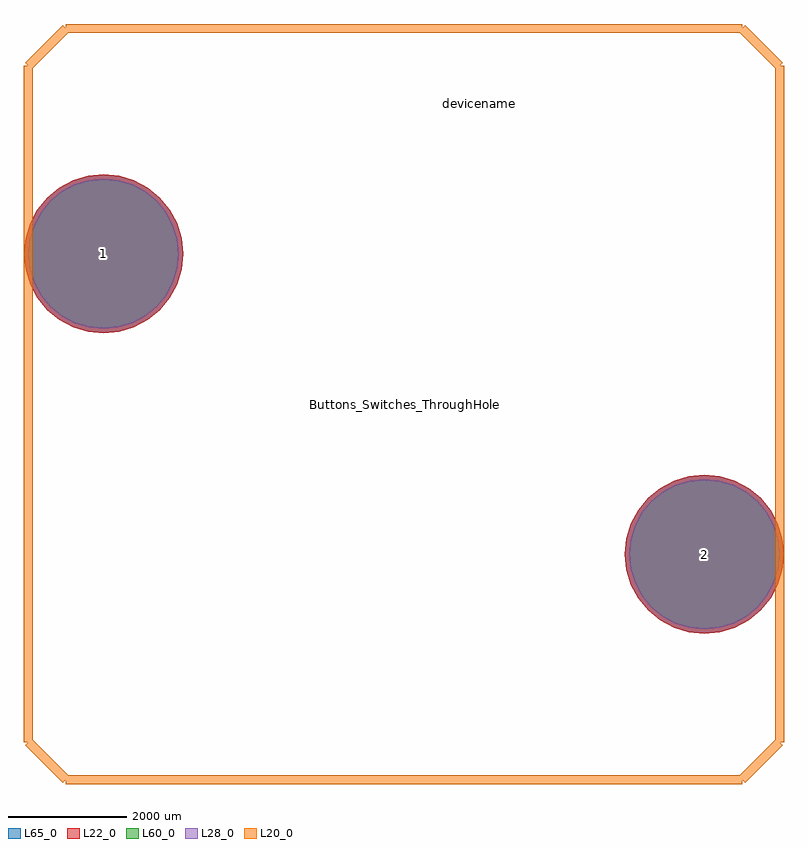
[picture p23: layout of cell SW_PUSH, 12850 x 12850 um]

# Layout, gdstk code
import gdstk
lib = gdstk.Library(unit=1e-6, precision=1e-09)
def P(c, l, *ps):  # polygons
    for p in ps: c.add(gdstk.Polygon(p, *l))
L20_0 = (20, 0)
L22_0 = (22, 0)
L28_0 = (28, 0)
L60_0 = (60, 0)
L65_0 = (65, 0)

sw_push = lib.new_cell('SW_PUSH')
P(sw_push, L22_0, [(6425,-2540),(6399.156,-2277.604),(6322.618,-2025.291),(6198.327,-1792.758),(6031.059,-1588.941),(5827.242,-1421.673),(5594.709,-1297.382),(5342.396,-1220.844),(5080,-1195),(4817.604,-1220.844),(4565.291,-1297.382),(4332.758,-1421.673),(4128.941,-1588.941),(3961.673,-1792.758),(3837.382,-2025.291),(3760.844,-2277.604),(3735,-2540),(3760.844,-2802.396),(3837.382,-3054.709),(3961.673,-3287.242),(4128.941,-3491.059),(4332.758,-3658.327),(4565.291,-3782.618),(4817.604,-3859.156),(5080,-3885),(5342.396,-3859.156),(5594.709,-3782.618),(5827.242,-3658.327),(6031.059,-3491.059),(6198.327,-3287.242),(6322.618,-3054.709),(6399.156,-2802.396)],
  [(-3735,2540),(-3760.844,2802.396),(-3837.382,3054.709),(-3961.673,3287.242),(-4128.941,3491.059),(-4332.758,3658.327),(-4565.291,3782.618),(-4817.604,3859.156),(-5080,3885),(-5342.396,3859.156),(-5594.709,3782.618),(-5827.242,3658.327),(-6031.059,3491.059),(-6198.327,3287.242),(-6322.618,3054.709),(-6399.156,2802.396),(-6425,2540),(-6399.156,2277.604),(-6322.618,2025.291),(-6198.327,1792.758),(-6031.059,1588.941),(-5827.242,1421.673),(-5594.709,1297.382),(-5342.396,1220.844),(-5080,1195),(-4817.604,1220.844),(-4565.291,1297.382),(-4332.758,1421.673),(-4128.941,1588.941),(-3961.673,1792.758),(-3837.382,2025.291),(-3760.844,2277.604)])
P(sw_push, L28_0, [(6350,-2540),(6325.597,-2292.235),(6253.327,-2053.992),(6135.966,-1834.426),(5978.026,-1641.974),(5785.574,-1484.034),(5566.008,-1366.673),(5327.765,-1294.403),(5080,-1270),(4832.235,-1294.403),(4593.992,-1366.673),(4374.426,-1484.034),(4181.974,-1641.974),(4024.034,-1834.426),(3906.673,-2053.992),(3834.403,-2292.235),(3810,-2540),(3834.403,-2787.765),(3906.673,-3026.008),(4024.034,-3245.574),(4181.974,-3438.026),(4374.426,-3595.966),(4593.992,-3713.327),(4832.235,-3785.597),(5080,-3810),(5327.765,-3785.597),(5566.008,-3713.327),(5785.574,-3595.966),(5978.026,-3438.026),(6135.966,-3245.574),(6253.327,-3026.008),(6325.597,-2787.765)],
  [(-3810,2540),(-3834.403,2787.765),(-3906.673,3026.008),(-4024.034,3245.574),(-4181.974,3438.026),(-4374.426,3595.966),(-4593.992,3713.327),(-4832.235,3785.597),(-5080,3810),(-5327.765,3785.597),(-5566.008,3713.327),(-5785.574,3595.966),(-5978.026,3438.026),(-6135.966,3245.574),(-6253.327,3026.008),(-6325.597,2787.765),(-6350,2540),(-6325.597,2292.235),(-6253.327,2053.992),(-6135.966,1834.426),(-5978.026,1641.974),(-5785.574,1484.034),(-5566.008,1366.673),(-5327.765,1294.403),(-5080,1270),(-4832.235,1294.403),(-4593.992,1366.673),(-4374.426,1484.034),(-4181.974,1641.974),(-4024.034,1834.426),(-3906.673,2053.992),(-3834.403,2292.235)])
P(sw_push, L60_0, [(6350,-2540),(6325.597,-2292.235),(6253.327,-2053.992),(6135.966,-1834.426),(5978.026,-1641.974),(5785.574,-1484.034),(5566.008,-1366.673),(5327.765,-1294.403),(5080,-1270),(4832.235,-1294.403),(4593.992,-1366.673),(4374.426,-1484.034),(4181.974,-1641.974),(4024.034,-1834.426),(3906.673,-2053.992),(3834.403,-2292.235),(3810,-2540),(3834.403,-2787.765),(3906.673,-3026.008),(4024.034,-3245.574),(4181.974,-3438.026),(4374.426,-3595.966),(4593.992,-3713.327),(4832.235,-3785.597),(5080,-3810),(5327.765,-3785.597),(5566.008,-3713.327),(5785.574,-3595.966),(5978.026,-3438.026),(6135.966,-3245.574),(6253.327,-3026.008),(6325.597,-2787.765)],
  [(-3810,2540),(-3834.403,2787.765),(-3906.673,3026.008),(-4024.034,3245.574),(-4181.974,3438.026),(-4374.426,3595.966),(-4593.992,3713.327),(-4832.235,3785.597),(-5080,3810),(-5327.765,3785.597),(-5566.008,3713.327),(-5785.574,3595.966),(-5978.026,3438.026),(-6135.966,3245.574),(-6253.327,3026.008),(-6325.597,2787.765),(-6350,2540),(-6325.597,2292.235),(-6253.327,2053.992),(-6135.966,1834.426),(-5978.026,1641.974),(-5785.574,1484.034),(-5566.008,1366.673),(-5327.765,1294.403),(-5080,1270),(-4832.235,1294.403),(-4593.992,1366.673),(-4374.426,1484.034),(-4181.974,1641.974),(-4024.034,1834.426),(-3906.673,2053.992),(-3834.403,2292.235)])
P(sw_push, L65_0, [(6425,-2540),(6399.156,-2277.604),(6322.618,-2025.291),(6198.327,-1792.758),(6031.059,-1588.941),(5827.242,-1421.673),(5594.709,-1297.382),(5342.396,-1220.844),(5080,-1195),(4817.604,-1220.844),(4565.291,-1297.382),(4332.758,-1421.673),(4128.941,-1588.941),(3961.673,-1792.758),(3837.382,-2025.291),(3760.844,-2277.604),(3735,-2540),(3760.844,-2802.396),(3837.382,-3054.709),(3961.673,-3287.242),(4128.941,-3491.059),(4332.758,-3658.327),(4565.291,-3782.618),(4817.604,-3859.156),(5080,-3885),(5342.396,-3859.156),(5594.709,-3782.618),(5827.242,-3658.327),(6031.059,-3491.059),(6198.327,-3287.242),(6322.618,-3054.709),(6399.156,-2802.396)],
  [(-3735,2540),(-3760.844,2802.396),(-3837.382,3054.709),(-3961.673,3287.242),(-4128.941,3491.059),(-4332.758,3658.327),(-4565.291,3782.618),(-4817.604,3859.156),(-5080,3885),(-5342.396,3859.156),(-5594.709,3782.618),(-5827.242,3658.327),(-6031.059,3491.059),(-6198.327,3287.242),(-6322.618,3054.709),(-6399.156,2802.396),(-6425,2540),(-6399.156,2277.604),(-6322.618,2025.291),(-6198.327,1792.758),(-6031.059,1588.941),(-5827.242,1421.673),(-5594.709,1297.382),(-5342.396,1220.844),(-5080,1195),(-4817.604,1220.844),(-4565.291,1297.382),(-4332.758,1421.673),(-4128.941,1588.941),(-3961.673,1792.758),(-3837.382,2025.291),(-3760.844,2277.604)])
sw_push.add(gdstk.FlexPath([(-6350,5715),(-5715,6350)], 149.998, ends="flush", simple_path=True, layer=20, datatype=0))  # L20_0
sw_push.add(gdstk.FlexPath([(5715,6350),(6350,5715)], 149.998, ends="flush", simple_path=True, layer=20, datatype=0))  # L20_0
sw_push.add(gdstk.FlexPath([(-5715,6350),(5715,6350)], 149.998, ends="flush", simple_path=True, layer=20, datatype=0))  # L20_0
sw_push.add(gdstk.FlexPath([(-6350,-5715),(-6350,5715)], 149.998, ends="flush", simple_path=True, layer=20, datatype=0))  # L20_0
sw_push.add(gdstk.FlexPath([(-5715,-6350),(-6350,-5715)], 149.998, ends="flush", simple_path=True, layer=20, datatype=0))  # L20_0
sw_push.add(gdstk.FlexPath([(5715,-6350),(-5715,-6350)], 149.998, ends="flush", simple_path=True, layer=20, datatype=0))  # L20_0
sw_push.add(gdstk.FlexPath([(6350,-5715),(5715,-6350)], 149.998, ends="flush", simple_path=True, layer=20, datatype=0))  # L20_0
sw_push.add(gdstk.FlexPath([(6350,5715),(6350,-5715)], 149.998, ends="flush", simple_path=True, layer=20, datatype=0))  # L20_0
sw_push.add(gdstk.Label('Buttons_Switches_ThroughHole.3dshapes/SW_PUSH.wrl', (0,0), layer=12, texttype=0))
sw_push.add(gdstk.Label('2', (5080,-2540), layer=28, texttype=0))
sw_push.add(gdstk.Label('1', (-5080,2540), layer=28, texttype=0))
sw_push.add(gdstk.Label('type', (0,0), layer=9, texttype=0))
sw_push.add(gdstk.Label('devicename', (1270,5080), layer=9, texttype=0))

lib.write_gds('SW_PUSH.gds')
